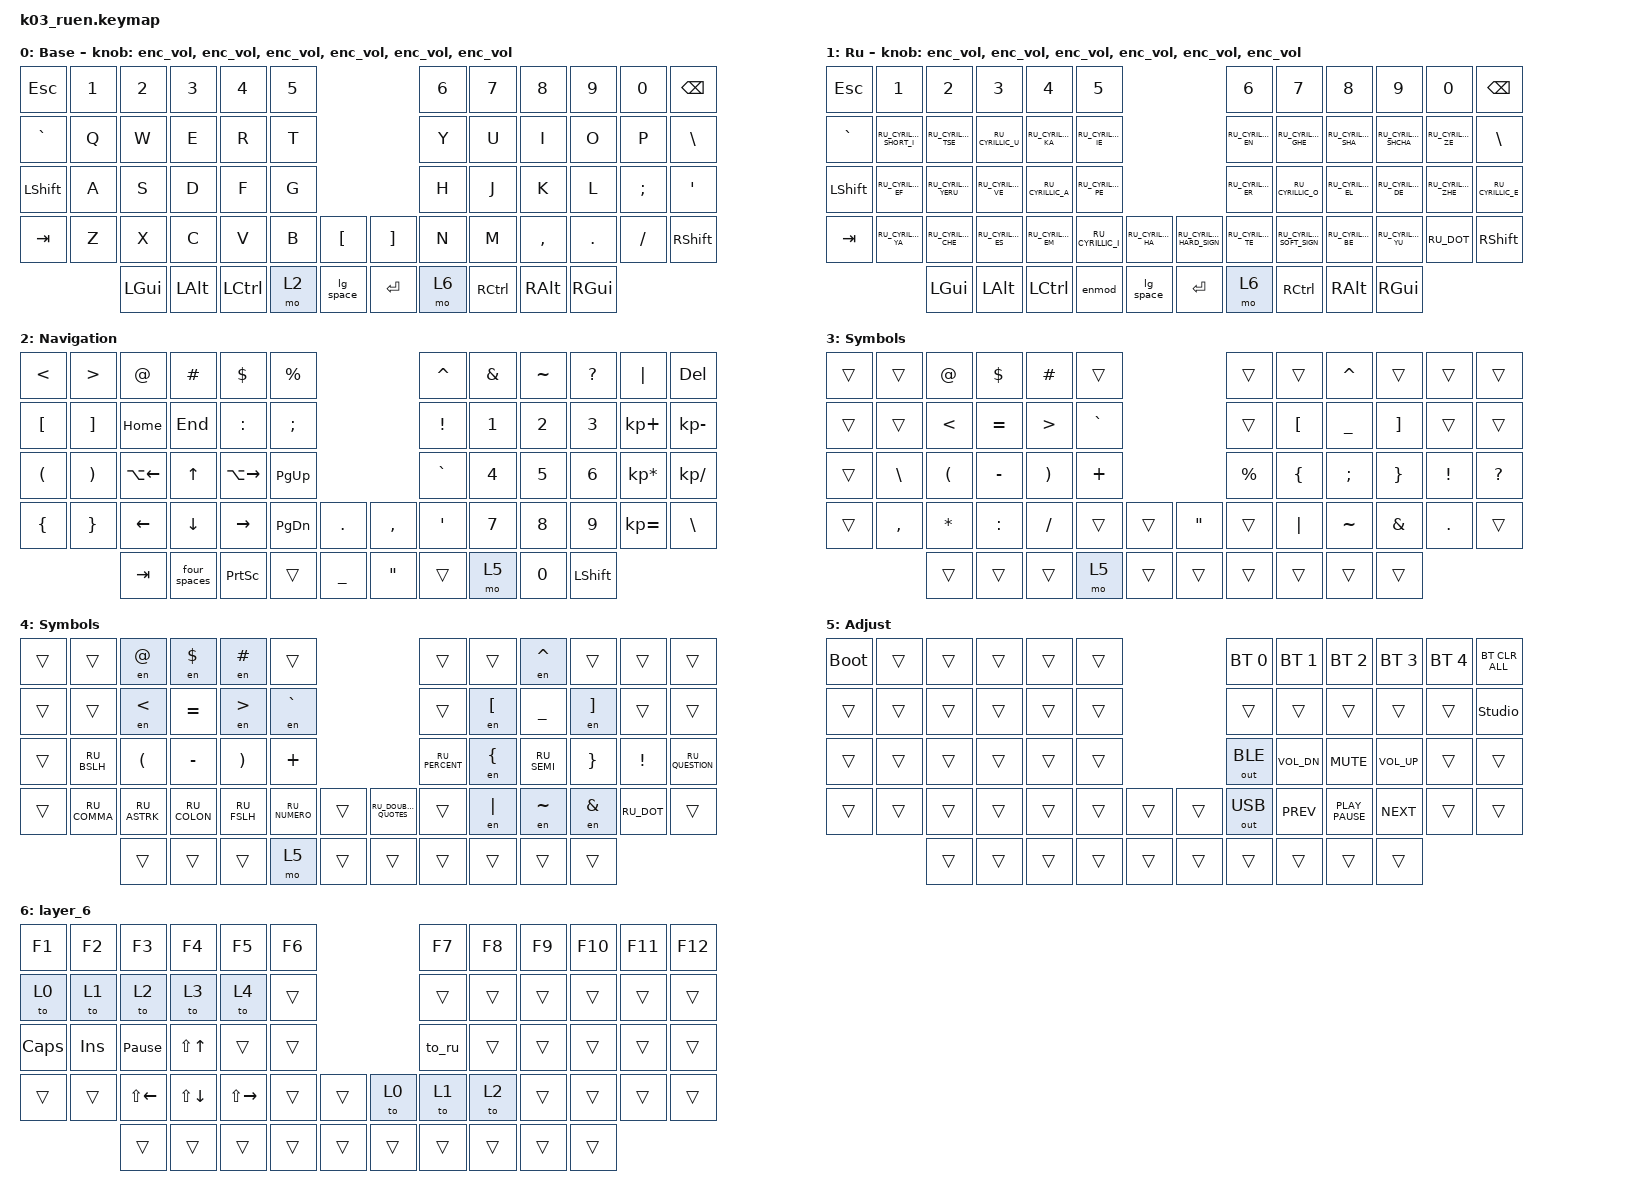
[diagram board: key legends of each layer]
#include "keys_ru.h"
#include <behaviors.dtsi>
#include <dt-bindings/zmk/bt.h>
#include <dt-bindings/zmk/keys.h>
#include <dt-bindings/zmk/outputs.h>

/ {
    behaviors {
        enc_vol: enc_vol {
            compatible = "zmk,behavior-sensor-rotate";
            label = "ENC_VOL";
            #sensor-binding-cells = <0>;
            bindings = <&kp C_VOL_UP>, <&kp C_VOL_DN>;
        };

        lg_space: lg_space {
            compatible = "zmk,behavior-mod-morph";
            label = "LG_SPACE";
            bindings = <&kp SPACE>, <&lg_tog>;

            #binding-cells = <0>;
            mods = <(MOD_LGUI)>;
        };
    };

    combos {
        compatible = "zmk,combos";

        cmben {
            bindings = <&layer_en>;
            key-positions = <15 16>;
            layers = <1>;
        };

        cmbru {
            bindings = <&layer_ru>;
            key-positions = <15 16>;
            layers = <0>;
        };
    };

    macros {
        to_ru: to_ru {
            compatible = "zmk,behavior-macro";
            #binding-cells = <0>;
            bindings = <&kp LG(SPACE)>;
            label = "TO_RU";
            wait-ms = <0>;
            tap-ms = <30>;
        };

        to_en: to_en {
            compatible = "zmk,behavior-macro";
            #binding-cells = <0>;
            bindings = <&kp LG(SPACE)>;
            label = "TO_EN";
            wait-ms = <0>;
            tap-ms = <30>;
        };

        layer_en: layer_en {
            compatible = "zmk,behavior-macro";
            #binding-cells = <0>;
            bindings = <&to 0 &to_en>;
            label = "LAYER_EN";
            wait-ms = <0>;
            tap-ms = <30>;
        };

        layer_ru: layer_ru {
            compatible = "zmk,behavior-macro";
            #binding-cells = <0>;
            bindings = <&to 1 &to_ru>;
            label = "LAYER_RU";
            tap-ms = <30>;
            wait-ms = <0>;
        };

        en: en {
            compatible = "zmk,behavior-macro-one-param";
            #binding-cells = <1>;
            bindings =
                <&to_en>,
                <&macro_press>,
                <&macro_param_1to1 &kp MACRO_PLACEHOLDER>,
                <&macro_pause_for_release>,
                <&macro_release>,
                <&macro_param_1to1 &kp MACRO_PLACEHOLDER>,
                <&macro_tap>,
                <&to_ru>;

            label = "EN";
            wait-ms = <20>;
            tap-ms = <30>;
        };

        lg_tog: lg_tog {
            compatible = "zmk,behavior-macro";
            #binding-cells = <0>;
            bindings = <&kp LG(SPACE) &tog 1>;
            label = "LG_TOG";
        };

        enmod: new_macro {
            compatible = "zmk,behavior-macro";
            #binding-cells = <0>;
            bindings =
                <&macro_press>,
                <&mo 2>,
                <&macro_tap>,
                <&kp LG(SPACE)>,
                <&macro_pause_for_release>,
                <&macro_release>,
                <&mo 2>,
                <&macro_tap>,
                <&kp LG(SPACE)>;

            label = "NEW_MACRO";
        };

        four_spaces: four_spaces {
            compatible = "zmk,behavior-macro";
            #binding-cells = <0>;
            bindings = <&kp SPACE &kp SPACE &kp SPACE &kp SPACE>;
            label = "FOUR_SPACES";
        };
    };

    keymap {
        compatible = "zmk,keymap";

        en {
            bindings = <
&kp ESC         &kp N1  &kp N2    &kp N3    &kp N4     &kp N5                          &kp N6  &kp N7     &kp N8     &kp N9    &kp N0    &kp BSPC
&kp GRAVE       &kp Q   &kp W     &kp E     &kp R      &kp T                           &kp Y   &kp U      &kp I      &kp O     &kp P     &kp BSLH
&kp LEFT_SHIFT  &kp A   &kp S     &kp D     &kp F      &kp G                           &kp H   &kp J      &kp K      &kp L     &kp SEMI  &kp SQT
&kp TAB         &kp Z   &kp X     &kp C     &kp V      &kp B   &kp LBKT     &kp RBKT   &kp N   &kp M      &kp COMMA  &kp DOT   &kp FSLH  &kp RSHFT
                        &kp LGUI  &kp LALT  &kp LCTRL  &mo 2   &lg_space    &kp ENTER  &mo 6   &kp RCTRL  &kp RALT   &kp RGUI
            >;

            display-name = "Base";
            sensor-bindings =
                <&enc_vol>,
                <&enc_vol>,
                <&enc_vol>,
                <&enc_vol>,
                <&enc_vol>,
                <&enc_vol>;
        };

        ru {
            display-name = "Ru";
            bindings = <
&kp ESC         &kp N1                   &kp N2                &kp N3              &kp N4              &kp N5                                                               &kp N6              &kp N7                     &kp N8               &kp N9                 &kp N0               &kp BSPC
&kp GRAVE       &kp RU_CYRILLIC_SHORT_I  &kp RU_CYRILLIC_TSE   &kp RU_CYRILLIC_U   &kp RU_CYRILLIC_KA  &kp RU_CYRILLIC_IE                                                   &kp RU_CYRILLIC_EN  &kp RU_CYRILLIC_GHE        &kp RU_CYRILLIC_SHA  &kp RU_CYRILLIC_SHCHA  &kp RU_CYRILLIC_ZE   &kp BSLH
&kp LEFT_SHIFT  &kp RU_CYRILLIC_EF       &kp RU_CYRILLIC_YERU  &kp RU_CYRILLIC_VE  &kp RU_CYRILLIC_A   &kp RU_CYRILLIC_PE                                                   &kp RU_CYRILLIC_ER  &kp RU_CYRILLIC_O          &kp RU_CYRILLIC_EL   &kp RU_CYRILLIC_DE     &kp RU_CYRILLIC_ZHE  &kp RU_CYRILLIC_E
&kp TAB         &kp RU_CYRILLIC_YA       &kp RU_CYRILLIC_CHE   &kp RU_CYRILLIC_ES  &kp RU_CYRILLIC_EM  &kp RU_CYRILLIC_I   &kp RU_CYRILLIC_HA    &kp RU_CYRILLIC_HARD_SIGN  &kp RU_CYRILLIC_TE  &kp RU_CYRILLIC_SOFT_SIGN  &kp RU_CYRILLIC_BE   &kp RU_CYRILLIC_YU     &kp RU_DOT           &kp RSHFT
                                         &kp LGUI              &kp LALT            &kp LCTRL           &enmod              &lg_space             &kp ENTER                  &mo 6               &kp RCTRL                  &kp RALT             &kp RGUI
            >;

            sensor-bindings =
                <&enc_vol>,
                <&enc_vol>,
                <&enc_vol>,
                <&enc_vol>,
                <&enc_vol>,
                <&enc_vol>;
        };

        nav {
            bindings = <
&kp LT            &kp GT           &kp AT        &kp HASH      &kp DOLLAR       &kp PERCENT                                    &kp CARET  &kp AMPS  &kp TILDE     &kp QUESTION  &kp PIPE         &kp DELETE
&kp LEFT_BRACKET  &kp RBKT         &kp HOME      &kp END       &kp COLON        &kp SEMI                                       &kp EXCL   &kp N1    &kp NUMBER_2  &kp N3        &kp KP_PLUS      &kp KP_MINUS
&kp LPAR          &kp RPAR         &kp LA(LEFT)  &kp UP        &kp LA(RIGHT)    &kp PG_UP                                      &kp GRAVE  &kp N4    &kp N5        &kp N6        &kp KP_ASTERISK  &kp KP_DIVIDE
&kp LEFT_BRACE    &kp RIGHT_BRACE  &kp LEFT      &kp DOWN      &kp RIGHT        &kp PAGE_DOWN  &kp DOT      &kp COMMA          &kp SQT    &kp N7    &kp N8        &kp N9        &kp KP_EQUAL     &kp BACKSLASH
                                   &kp TAB       &four_spaces  &kp PRINTSCREEN  &trans         &kp UNDER    &kp DOUBLE_QUOTES  &trans     &mo 5     &kp N0        &kp LSHFT
            >;

            display-name = "Navigation";
        };

        sym_en {
            bindings = <
&trans  &trans     &kp AT    &kp DLLR   &kp HASH  &trans                                  &trans     &trans    &kp CARET  &trans    &trans    &trans
&trans  &trans     &kp LT    &kp EQUAL  &kp GT    &kp GRAVE                               &trans     &kp LBKT  &kp UNDER  &kp RBKT  &trans    &trans
&trans  &kp BSLH   &kp LPAR  &kp MINUS  &kp RPAR  &kp PLUS                                &kp PRCNT  &kp LBRC  &kp SEMI   &kp RBRC  &kp EXCL  &kp QUESTION
&trans  &kp COMMA  &kp STAR  &kp COLON  &kp FSLH  &trans     &trans    &kp DOUBLE_QUOTES  &trans     &kp PIPE  &kp TILDE  &kp AMPS  &kp DOT   &trans
                   &trans    &trans     &trans    &mo 5      &trans    &trans             &trans     &trans    &trans     &trans
            >;

            display-name = "Symbols";
        };

        sym_ru {
            display-name = "Symbols";
            bindings = <
&trans  &trans        &en AT        &en DLLR      &en HASH     &trans                                         &trans          &trans    &en CARET    &trans    &trans      &trans
&trans  &trans        &en LT        &kp EQUAL     &en GT       &en GRAVE                                      &trans          &en LBKT  &kp UNDER    &en RBKT  &trans      &trans
&trans  &kp RU_BSLH   &kp LPAR      &kp MINUS     &kp RPAR     &kp PLUS                                       &kp RU_PERCENT  &en LBRC  &kp RU_SEMI  &kp RBRC  &kp EXCL    &kp RU_QUESTION
&trans  &kp RU_COMMA  &kp RU_ASTRK  &kp RU_COLON  &kp RU_FSLH  &kp RU_NUMERO  &trans    &kp RU_DOUBLE_QUOTES  &trans          &en PIPE  &en TILDE    &en AMPS  &kp RU_DOT  &trans
                      &trans        &trans        &trans       &mo 5          &trans    &trans                &trans          &trans    &trans       &trans
            >;
        };

        adj {
            bindings = <
&bootloader  &trans  &trans  &trans  &trans  &trans                    &bt BT_SEL 0  &bt BT_SEL 1  &bt BT_SEL 2      &bt BT_SEL 3  &bt BT_SEL 4  &bt BT_CLR_ALL
&trans       &trans  &trans  &trans  &trans  &trans                    &trans        &trans        &trans            &trans        &trans        &studio_unlock
&trans       &trans  &trans  &trans  &trans  &trans                    &out OUT_BLE  &kp C_VOL_DN  &kp K_MUTE        &kp C_VOL_UP  &trans        &trans
&trans       &trans  &trans  &trans  &trans  &trans  &trans    &trans  &out OUT_USB  &kp K_PREV    &kp K_PLAY_PAUSE  &kp K_NEXT    &trans        &trans
                     &trans  &trans  &trans  &trans  &trans    &trans  &trans        &trans        &trans            &trans
            >;

            display-name = "Adjust";
        };

        layer_6 {
            bindings = <
&kp F1    &kp F2   &kp F3              &kp F4              &kp F5         &kp F6                    &kp F7  &kp F8  &kp F9  &kp F10  &kp F11  &kp F12
&to 0     &to 1    &to 2               &to 3               &to 4          &trans                    &trans  &trans  &trans  &trans   &trans   &trans
&kp CAPS  &kp INS  &kp PAUSE_BREAK     &kp LS(UP)          &trans         &trans                    &to_ru  &trans  &trans  &trans   &trans   &trans
&trans    &trans   &kp LS(LEFT_ARROW)  &kp LS(DOWN_ARROW)  &kp LS(RIGHT)  &trans  &trans    &to 0   &to 1   &to 2   &trans  &trans   &trans   &trans
                   &trans              &trans              &trans         &trans  &trans    &trans  &trans  &trans  &trans  &trans
            >;
        };
    };
};
